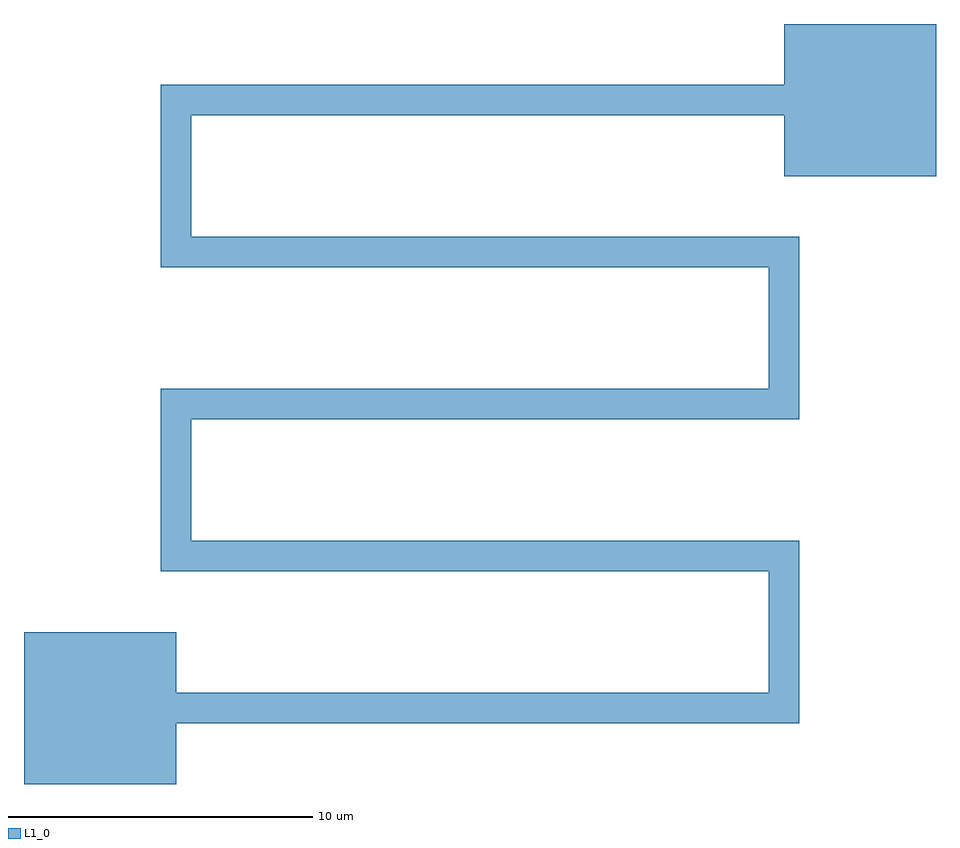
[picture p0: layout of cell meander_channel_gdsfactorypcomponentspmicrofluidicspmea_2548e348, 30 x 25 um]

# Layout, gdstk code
import gdstk
lib = gdstk.Library(unit=1e-6, precision=1e-09)
def R(c, l, rs):  # rectangles x0, y0, x1, y1
    for r in rs: c.add(gdstk.rectangle(r[:2], r[2:], *l))
def A(c, l, x, y, w, h, nx, ny, dx, dy):  # array of equal rectangles
    R(c, l, [(x+i*dx, y+j*dy, x+i*dx+w, y+j*dy+h) for i in range(nx) for j in range(ny)])
L1_0 = (1, 0)

meander_channel_gdsfacto = lib.new_cell('meander_channel_gdsfactorypcomponentspmicrofluidicspmea_2548e348')
A(meander_channel_gdsfacto, L1_0, 0, -0.5, 20, 1, 1, 5, 0, 5)
R(meander_channel_gdsfacto, L1_0, [(-5,-2.5,0,2.5), (19.5,-0.5,20.5,5.5), (-0.5,4.5,0.5,10.5), (19.5,9.5,20.5,15.5), (-0.5,14.5,0.5,20.5), (20,17.5,25,22.5)])

lib.write_gds('meander_channel_gdsfactorypcomponentspmicrofluidicspmea_2548e348.gds')
